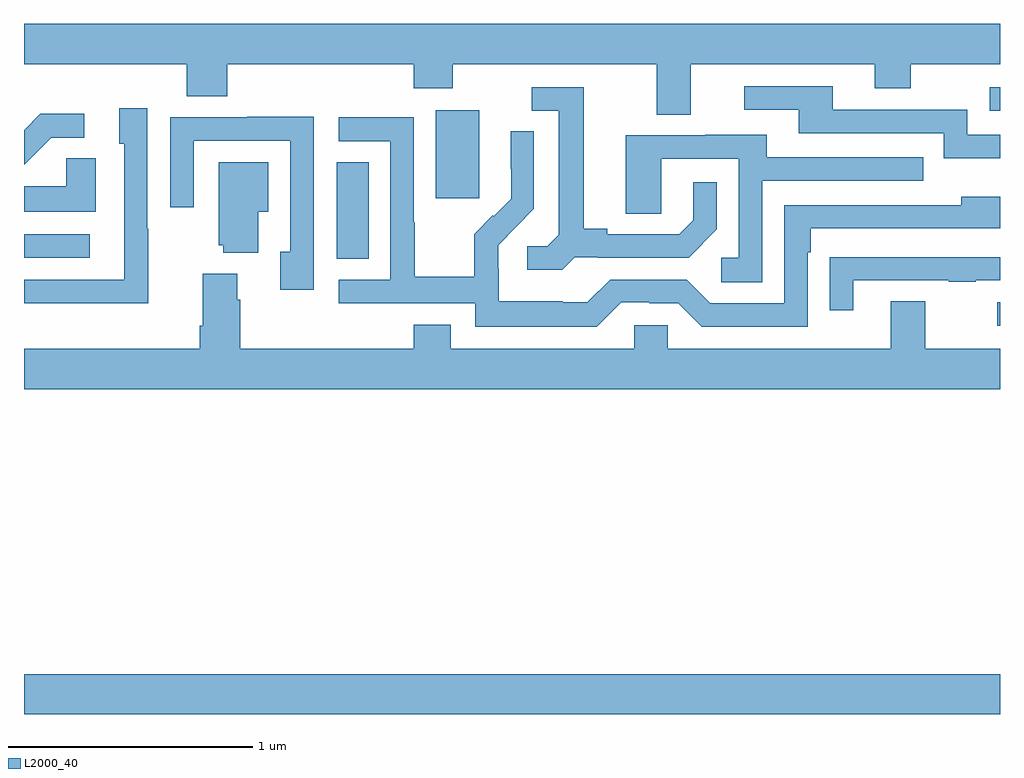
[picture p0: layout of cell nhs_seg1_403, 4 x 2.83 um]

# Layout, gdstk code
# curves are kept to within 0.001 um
import gdstk
lib = gdstk.Library(unit=1e-6, precision=1e-09)
def R(c, l, rs):  # rectangles x0, y0, x1, y1
    for r in rs: c.add(gdstk.rectangle(r[:2], r[2:], *l))
def P(c, l, *ps):  # polygons
    for p in ps: c.add(gdstk.Polygon(p, *l))
L2000_40 = (2000, 40)

nhs_seg1_403 = lib.new_cell('nhs_seg1_403')
R(nhs_seg1_403, L2000_40, [(133,542.408,137,542.572), (136.989,543.999,137,544.095), (134.282,544.273,134.413,544.67), (133,544.278,133.27,544.374), (134.687,544.521,134.866,544.882), (136.959,544.881,137,544.977)])
P(nhs_seg1_403, L2000_40, [(135.733,545.072),(136.487,545.072),(136.487,544.973),(136.635,544.973),(136.635,545.072),(137,545.072),(137,545.236),(133,545.236),(133,545.072),(133.667,545.072),(133.667,544.939),(133.832,544.939),(133.832,545.072),(134.597,545.072),(134.597,544.973),(134.757,544.973),(134.757,545.072),(135.593,545.072),(135.593,544.864),(135.733,544.864)],
  [(137,544.782),(136.866,544.782),(136.866,544.884),(136.315,544.884),(136.315,544.98),(135.951,544.98),(135.951,544.884),(136.175,544.884),(136.175,544.788),(136.77,544.788),(136.77,544.685),(137,544.685)],
  [(135.258,544.281),(135.352,544.281),(135.352,544.278),(135.724,544.278),(135.84,544.394),(135.84,544.588),(135.743,544.588),(135.743,544.431),(135.686,544.374),(135.391,544.374),(135.391,544.397),(135.295,544.397),(135.295,544.977),(135.081,544.977),(135.081,544.881),(135.191,544.881),(135.191,544.373),(135.144,544.326),(135.063,544.326),(135.063,544.229),(135.206,544.229)],
  [(133.509,544.397),(133.506,544.397),(133.506,544.891),(133.391,544.891),(133.391,544.746),(133.41,544.746),(133.41,544.188),(133,544.188),(133,544.092),(133.045,544.092),(133.045,544.091),(133.509,544.091)],
  [(133.111,544.77),(133.246,544.77),(133.246,544.868),(133.067,544.868),(133,544.801),(133,544.659)],
  [(134.187,544.856),(133.915,544.856),(133.915,544.854),(133.599,544.854),(133.599,544.485),(133.695,544.485),(133.695,544.758),(134.091,544.758),(134.091,544.302),(134.051,544.302),(134.051,544.146),(134.187,544.146)],
  [(135.447,544.095),(135.563,544.095),(135.563,544.092),(135.681,544.092),(135.777,543.996),(136.212,543.996),(136.212,544.301),(136.225,544.301),(136.225,544.398),(137,544.398),(137,544.528),(136.841,544.528),(136.841,544.494),(136.116,544.494),(136.116,544.092),(135.813,544.092),(135.717,544.188),(135.402,544.188),(135.309,544.095),(135.209,544.095),(135.209,544.099),(134.946,544.099),(134.946,544.233),(134.944,544.233),(134.944,544.33),(135.09,544.478),(135.09,544.796),(134.994,544.796),(134.994,544.642),(134.996,544.642),(134.996,544.52),(134.925,544.449),(134.922,544.452),(134.845,544.375),(134.845,544.201),(134.601,544.201),(134.601,544.424),(134.598,544.424),(134.598,544.854),(134.289,544.854),(134.289,544.755),(134.502,544.755),(134.502,544.188),(134.289,544.188),(134.289,544.092),(134.85,544.092),(134.85,543.995),(135.347,543.995)],
  [(136.026,544.593),(136.685,544.593),(136.685,544.689),(136.045,544.689),(136.045,544.783),(135.791,544.783),(135.791,544.779),(135.467,544.779),(135.467,544.459),(135.612,544.459),(135.612,544.683),(135.93,544.683),(135.93,544.278),(135.858,544.278),(135.858,544.177),(136.026,544.177)],
  [(133.294,544.685),(133.173,544.685),(133.173,544.57),(133,544.57),(133,544.466),(133.294,544.466)],
  [(133.96,544.466),(134.002,544.466),(134.002,544.669),(133.799,544.669),(133.799,544.329),(133.817,544.329),(133.817,544.298),(133.96,544.298)],
  [(136.399,544.185),(136.789,544.185),(136.789,544.18),(136.901,544.18),(136.901,544.185),(137,544.185),(137,544.281),(136.405,544.281),(136.405,544.28),(136.303,544.28),(136.303,544.062),(136.399,544.062)],
  [(137,543.904),(136.693,543.904),(136.693,544.099),(136.553,544.099),(136.553,543.904),(135.639,543.904),(135.639,544.002),(135.501,544.002),(135.501,543.904),(134.749,543.904),(134.749,544.003),(134.597,544.003),(134.597,543.904),(133.886,543.904),(133.886,544.106),(133.873,544.106),(133.873,544.213),(133.733,544.213),(133.733,544),(133.721,544),(133.721,543.904),(133,543.904),(133,543.74),(137,543.74)])

lib.write_gds('nhs_seg1_403.gds')
